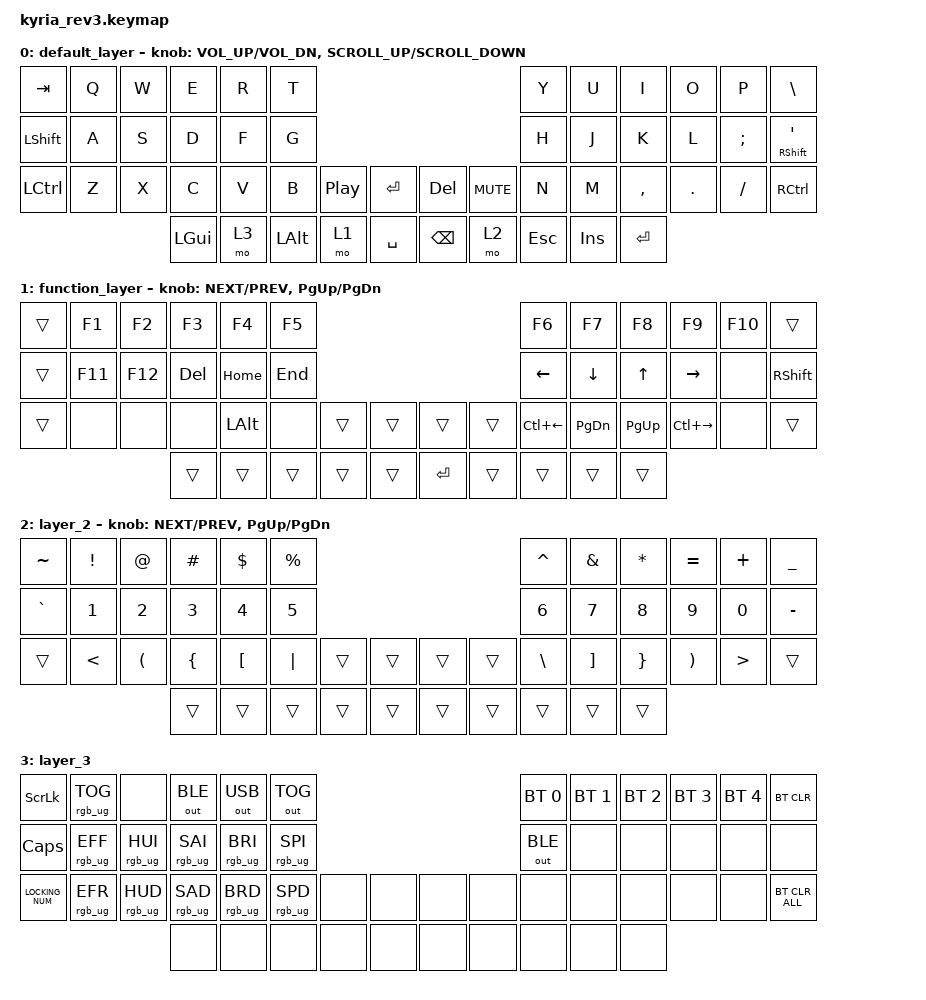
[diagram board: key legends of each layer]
/*
 * Copyright (c) 2023 The ZMK Contributors
 *
 * SPDX-License-Identifier: MIT
 */

#include <behaviors.dtsi>
#include <dt-bindings/zmk/bt.h>
#include <dt-bindings/zmk/keys.h>
#include <dt-bindings/zmk/outputs.h>
#include <dt-bindings/zmk/rgb.h>

&led_strip { chain-length = <31>; };

/ {
    keymap {
        compatible = "zmk,keymap";

        default_layer {
            bindings = <
&kp TAB    &kp Q  &kp W  &kp E     &kp R  &kp T                                                         &kp Y    &kp U    &kp I      &kp O    &kp P     &kp BSLH
&kp LSHFT  &kp A  &kp S  &kp D     &kp F  &kp G                                                         &kp H    &kp J    &kp K      &kp L    &kp SEMI  &mt RSHFT SQT
&kp LCTRL  &kp Z  &kp X  &kp C     &kp V  &kp B         &kp C_PP  &kp ENTER  &kp DEL        &kp C_MUTE  &kp N    &kp M    &kp COMMA  &kp DOT  &kp FSLH  &kp RCTRL
                         &kp LGUI  &mo 3  &kp LEFT_ALT  &mo 1     &kp SPACE  &kp BACKSPACE  &mo 2       &kp ESC  &kp INS  &kp ENTER
            >;

            sensor-bindings =
                <&inc_dec_kp C_VOL_UP C_VOL_DN>,
                <&inc_dec_kp K_SCROLL_UP K_SCROLL_DOWN>;
        };

        function_layer {
            bindings = <
&trans  &kp F1   &kp F2   &kp F3   &kp F4        &kp F5                                      &kp F6          &kp F7          &kp F8        &kp F9         &kp F10  &trans
&trans  &kp F11  &kp F12  &kp DEL  &kp HOME      &kp END                                     &kp LEFT_ARROW  &kp DOWN_ARROW  &kp UP_ARROW  &kp RIGHT      &none    &kp RSHFT
&trans  &none    &none    &none    &kp LEFT_ALT  &none    &trans  &trans  &trans     &trans  &kp LC(LEFT)    &kp PG_DN       &kp PG_UP     &kp LC(RIGHT)  &none    &trans
                          &trans   &trans        &trans   &trans  &trans  &kp ENTER  &trans  &trans          &trans          &trans
            >;

            sensor-bindings =
                <&inc_dec_kp C_NEXT C_PREV>,
                <&inc_dec_kp PG_UP PG_DN>;
        };

        layer_2 {
            bindings = <
&kp TILDE  &kp EXCL  &kp AT    &kp HASH  &kp DOLLAR  &kp PERCENT                                  &kp CARET      &kp AMPS  &kp STAR  &kp EQUAL  &kp PLUS  &kp UNDER
&kp GRAVE  &kp N1    &kp N2    &kp N3    &kp N4      &kp N5                                       &kp N6         &kp N7    &kp N8    &kp N9     &kp N0    &kp MINUS
&trans     &kp LT    &kp LPAR  &kp LBRC  &kp LBKT    &kp PIPE     &trans  &trans  &trans  &trans  &kp BACKSLASH  &kp RBKT  &kp RBRC  &kp RPAR   &kp GT    &trans
                               &trans    &trans      &trans       &trans  &trans  &trans  &trans  &trans         &trans    &trans
            >;

            sensor-bindings =
                <&inc_dec_kp C_NEXT C_PREV>,
                <&inc_dec_kp PG_UP PG_DN>;
        };

        layer_3 {
            bindings = <
&kp SCROLLLOCK   &rgb_ug RGB_TOG  &none            &out OUT_BLE     &out OUT_USB     &out OUT_TOG                                 &bt BT_SEL 0  &bt BT_SEL 1  &bt BT_SEL 2  &bt BT_SEL 3  &bt BT_SEL 4  &bt BT_CLR
&kp CAPS         &rgb_ug RGB_EFF  &rgb_ug RGB_HUI  &rgb_ug RGB_SAI  &rgb_ug RGB_BRI  &rgb_ug RGB_SPI                              &out OUT_BLE  &none         &none         &none         &none         &none
&kp LOCKING_NUM  &rgb_ug RGB_EFR  &rgb_ug RGB_HUD  &rgb_ug RGB_SAD  &rgb_ug RGB_BRD  &rgb_ug RGB_SPD  &none  &none  &none  &none  &none         &none         &none         &none         &none         &bt BT_CLR_ALL
                                                   &none            &none            &none            &none  &none  &none  &none  &none         &none         &none
            >;
        };
    };
};
